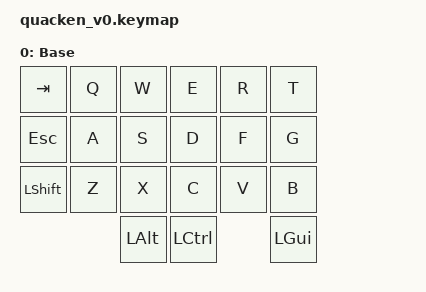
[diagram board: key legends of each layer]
#include <behaviors.dtsi>
#include <dt-bindings/zmk/keys.h>

/ {
    keymap {
        compatible = "zmk,keymap";

        default_layer {
            display-name = "Base";
            bindings = <
   &kp TAB   &kp Q &kp W &kp E &kp R &kp T
   &kp ESC   &kp A &kp S &kp D &kp F &kp G
   &kp LSHFT &kp Z &kp X &kp C &kp V &kp B
                  &kp LALT &kp LCTL &kp LGUI
            >;
        };
    };
};
